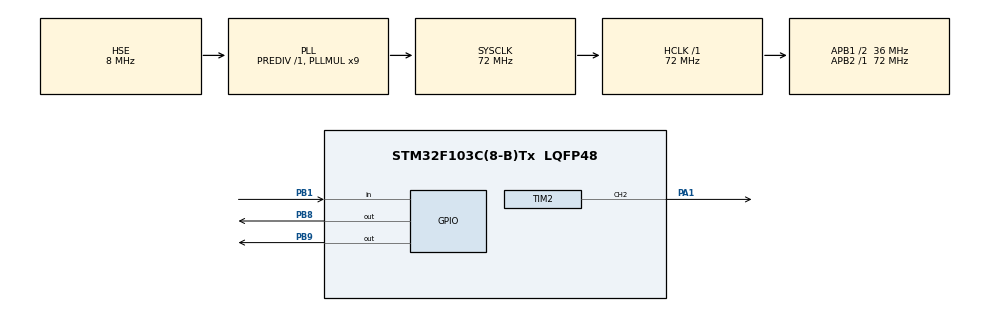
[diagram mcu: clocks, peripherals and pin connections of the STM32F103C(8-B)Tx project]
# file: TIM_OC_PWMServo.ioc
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Mcu.Family=STM32F1
Mcu.Name=STM32F103C(8-B)Tx
Mcu.Package=LQFP48
NVIC.PriorityGroup=NVIC_PRIORITYGROUP_4
PA1.Signal=S_TIM2_CH2
PA13.Mode=Serial_Wire
PA13.Signal=SYS_JTMS-SWDIO
PA14.Mode=Serial_Wire
PA14.Signal=SYS_JTCK-SWCLK
PB1.GPIO_PuPd=GPIO_PULLUP
PB1.Signal=GPIO_Input
PB8.GPIO_ModeDefaultOutputPP=GPIO_MODE_OUTPUT_OD
PB8.GPIO_PuPd=GPIO_NOPULL
PB8.Signal=GPIO_Output
PB9.GPIO_ModeDefaultOutputPP=GPIO_MODE_OUTPUT_OD
PB9.GPIO_PuPd=GPIO_NOPULL
PB9.Signal=GPIO_Output
PD0-OSC_IN.Mode=HSE-External-Oscillator
PD0-OSC_IN.Signal=RCC_OSC_IN
PD1-OSC_OUT.Mode=HSE-External-Oscillator
PD1-OSC_OUT.Signal=RCC_OSC_OUT
ProjectManager.HeapSize=0x200
ProjectManager.StackSize=0x400
ProjectManager.TargetToolchain=STM32CubeIDE
RCC.AHBFreq_Value=72000000
RCC.APB1CLKDivider=RCC_HCLK_DIV2
RCC.APB1Freq_Value=36000000
RCC.APB1TimFreq_Value=72000000
RCC.APB2Freq_Value=72000000
RCC.APB2TimFreq_Value=72000000
RCC.HCLKFreq_Value=72000000
RCC.PLLMUL=RCC_PLL_MUL9
RCC.PLLSourceVirtual=RCC_PLLSOURCE_HSE
RCC.SYSCLKFreq_VALUE=72000000
RCC.SYSCLKSource=RCC_SYSCLKSOURCE_PLLCLK
RCC.USBFreq_Value=72000000
SH.S_TIM2_CH2.0=TIM2_CH2,PWM Generation2 CH2
TIM2.Channel-PWM\ Generation2\ CH2=TIM_CHANNEL_2
TIM2.Period=19999
TIM2.Prescaler=71
VP_TIM2_VS_ClockSourceINT.Mode=Internal
board=custom

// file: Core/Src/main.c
/* USER CODE BEGIN Header */
/**
  ******************************************************************************
  * @file           : main.c
  * @brief          : Main program body
  ******************************************************************************
  * @attention
  *
  * Copyright (c) 2026 STMicroelectronics.
  * All rights reserved.
  *
  * This software is licensed under terms that can be found in the LICENSE file
  * in the root directory of this software component.
  * If no LICENSE file comes with this software, it is provided AS-IS.
  *
  ******************************************************************************
  */
/* USER CODE END Header */
#include "main.h"
#include "tim.h"
#include "gpio.h"

/* USER CODE BEGIN Includes */
#include "Key.h"
#include "OLED.h"
/* USER CODE END Includes */

void SystemClock_Config(void);

/* USER CODE BEGIN 0 */
void Set_Angle(uint16_t angle)
{
	//500-2500<-->0-180
	__HAL_TIM_SET_COMPARE(&htim2,TIM_CHANNEL_2,((float)angle/180.0*2000+500));
}
/* USER CODE END 0 */

int main(void)
{

  /* MCU Configuration--------------------------------------------------------*/

  /* Reset of all peripherals, Initializes the Flash interface and the Systick. */
  HAL_Init();

  /* USER CODE BEGIN Init */
  OLED_Init();
  /* USER CODE END Init */

  /* Configure the system clock */
  SystemClock_Config();

  /* Initialize all configured peripherals */
  MX_GPIO_Init();
  MX_TIM2_Init();
  /* USER CODE BEGIN 2 */
  HAL_TIM_PWM_Start(&htim2, TIM_CHANNEL_2);
  OLED_ShowString(1,1,"Angle:");
  volatile uint16_t angle=0;
  /* USER CODE END 2 */

  /* Infinite loop */
  /* USER CODE BEGIN WHILE */
  while (1)
  {
	  if(Key_GetNum()==2)
	  {
		  if(angle<180)
			  { Set_Angle(angle);
			  OLED_ShowNum(1,7,angle,3);
			  angle+=20;
			  }
		  if(angle==180)
		  {
			  angle=0;
		  }
	  }
    /* USER CODE END WHILE */

  }
}

void SystemClock_Config(void)
{
  RCC_OscInitTypeDef RCC_OscInitStruct = {0};
  RCC_ClkInitTypeDef RCC_ClkInitStruct = {0};

  /** Initializes the RCC Oscillators according to the specified parameters
  * in the RCC_OscInitTypeDef structure.
  */
  RCC_OscInitStruct.OscillatorType = RCC_OSCILLATORTYPE_HSE;
  RCC_OscInitStruct.HSEState = RCC_HSE_ON;
  RCC_OscInitStruct.HSEPredivValue = RCC_HSE_PREDIV_DIV1;
  RCC_OscInitStruct.HSIState = RCC_HSI_ON;
  RCC_OscInitStruct.PLL.PLLState = RCC_PLL_ON;
  RCC_OscInitStruct.PLL.PLLSource = RCC_PLLSOURCE_HSE;
  RCC_OscInitStruct.PLL.PLLMUL = RCC_PLL_MUL9;
  if (HAL_RCC_OscConfig(&RCC_OscInitStruct) != HAL_OK)
  {
    Error_Handler();
  }

  /** Initializes the CPU, AHB and APB buses clocks
  */
  RCC_ClkInitStruct.ClockType = RCC_CLOCKTYPE_HCLK|RCC_CLOCKTYPE_SYSCLK
                              |RCC_CLOCKTYPE_PCLK1|RCC_CLOCKTYPE_PCLK2;
  RCC_ClkInitStruct.SYSCLKSource = RCC_SYSCLKSOURCE_PLLCLK;
  RCC_ClkInitStruct.AHBCLKDivider = RCC_SYSCLK_DIV1;
  RCC_ClkInitStruct.APB1CLKDivider = RCC_HCLK_DIV2;
  RCC_ClkInitStruct.APB2CLKDivider = RCC_HCLK_DIV1;

  if (HAL_RCC_ClockConfig(&RCC_ClkInitStruct, FLASH_LATENCY_2) != HAL_OK)
  {
    Error_Handler();
  }
}

void Error_Handler(void)
{
  __disable_irq();
  while (1)
  {
  }
}
